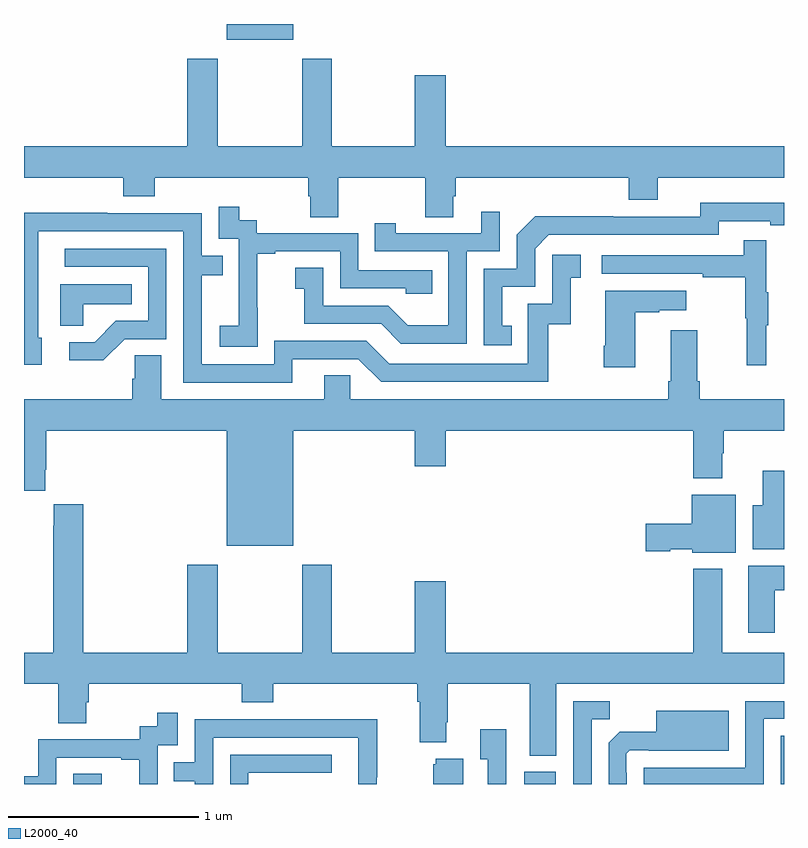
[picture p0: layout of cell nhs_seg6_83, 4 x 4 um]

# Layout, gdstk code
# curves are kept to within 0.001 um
import gdstk
lib = gdstk.Library(unit=1e-6, precision=1e-09)
def R(c, l, rs):  # rectangles x0, y0, x1, y1
    for r in rs: c.add(gdstk.rectangle(r[:2], r[2:], *l))
def P(c, l, *ps):  # polygons
    for p in ps: c.add(gdstk.Polygon(p, *l))
L2000_40 = (2000, 40)

nhs_seg6_83 = lib.new_cell('nhs_seg6_83')
R(nhs_seg6_83, L2000_40, [(115.26,921.5,115.408,921.553), (117.632,921.5,117.799,921.565), (118.983,921.5,119,921.755), (116.066,925.418,116.416,925.5)])
P(nhs_seg6_83, L2000_40, [(116.655,924.692),(117.112,924.692),(117.112,924.484),(117.259,924.484),(117.259,924.594),(117.272,924.594),(117.272,924.692),(118.184,924.692),(118.184,924.575),(118.336,924.575),(118.336,924.692),(119,924.692),(119,924.856),(117.22,924.856),(117.22,925.231),(117.056,925.231),(117.056,924.856),(116.619,924.856),(116.619,925.318),(116.464,925.318),(116.464,924.856),(116.019,924.856),(116.019,925.318),(115.859,925.318),(115.859,924.856),(115,924.856),(115,924.692),(115.523,924.692),(115.523,924.593),(115.688,924.593),(115.688,924.692),(116.495,924.692),(116.495,924.594),(116.507,924.594),(116.507,924.484),(116.655,924.484)],
  [(117.566,923.913),(117.517,923.913),(117.517,924.117),(117.69,924.117),(117.69,924.318),(117.762,924.39),(118.656,924.39),(118.656,924.462),(118.928,924.462),(118.928,924.442),(119,924.442),(119,924.558),(118.56,924.559),(118.56,924.486),(118.1,924.486),(118.1,924.488),(117.692,924.488),(117.594,924.39),(117.594,924.213),(117.42,924.213),(117.42,923.808),(117.566,923.808)],
  [(116.229,924.007),(116.228,924.007),(116.228,924.291),(116.323,924.291),(116.323,924.303),(116.664,924.303),(116.664,924.108),(117.009,924.108),(117.009,924.081),(117.149,924.081),(117.149,924.204),(116.76,924.204),(116.76,924.399),(116.226,924.399),(116.226,924.468),(116.134,924.468),(116.134,924.538),(116.025,924.538),(116.025,924.369),(116.13,924.369),(116.13,924.14),(116.129,924.14),(116.129,923.911),(116.031,923.911),(116.031,923.801),(116.229,923.801)],
  [(117.33,924.303),(117.504,924.303),(117.504,924.511),(117.407,924.511),(117.407,924.399),(116.956,924.399),(116.956,924.451),(116.845,924.451),(116.845,924.303),(117.234,924.303),(117.234,923.914),(117.02,923.914),(116.916,924.018),(116.574,924.018),(116.574,924.217),(116.427,924.217),(116.427,924.107),(116.476,924.107),(116.476,923.922),(116.879,923.922),(116.984,923.817),(117.33,923.817)],
  [(116.413,923.736),(116.76,923.736),(116.88,923.616),(117.76,923.616),(117.76,923.919),(117.878,923.919),(117.878,924.165),(117.931,924.165),(117.931,924.286),(117.78,924.286),(117.78,924.027),(117.651,924.027),(117.651,923.712),(116.922,923.712),(116.802,923.832),(116.316,923.832),(116.316,923.709),(115.935,923.709),(115.935,924.178),(116.045,924.178),(116.045,924.279),(115.935,924.279),(115.935,924.504),(115.439,924.504),(115.439,924.506),(115,924.506),(115,923.706),(115.093,923.706),(115.093,923.85),(115.074,923.85),(115.074,924.408),(115.839,924.408),(115.839,923.613),(116.413,923.613)],
  [(118.907,923.915),(118.918,923.915),(118.918,924.089),(118.907,924.089),(118.907,924.361),(118.789,924.361),(118.789,924.282),(118.041,924.282),(118.041,924.186),(118.573,924.186),(118.573,924.166),(118.797,924.166),(118.797,923.952),(118.804,923.952),(118.804,923.703),(118.907,923.703)],
  [(115.53,923.841),(115.749,923.841),(115.749,924.318),(115.215,924.318),(115.215,924.222),(115.653,924.222),(115.653,923.937),(115.484,923.937),(115.373,923.826),(115.239,923.826),(115.239,923.729),(115.417,923.729)],
  [(115.311,924.026),(115.568,924.026),(115.568,924.13),(115.19,924.13),(115.19,923.911),(115.311,923.911)],
  [(118.216,923.983),(118.343,923.983),(118.343,923.993),(118.486,923.993),(118.486,924.097),(118.058,924.097),(118.058,923.806),(118.051,923.806),(118.051,923.694),(118.216,923.694)],
  [(116.416,923.36),(117.056,923.36),(117.056,923.172),(117.22,923.172),(117.22,923.36),(118.523,923.36),(118.523,923.108),(118.675,923.108),(118.675,923.24),(118.683,923.24),(118.683,923.36),(119,923.36),(119,923.524),(118.556,923.524),(118.556,923.62),(118.543,923.62),(118.543,923.887),(118.403,923.887),(118.403,923.62),(118.391,923.62),(118.391,923.524),(116.718,923.524),(116.718,923.651),(116.579,923.651),(116.579,923.524),(115.723,923.524),(115.723,923.756),(115.584,923.756),(115.584,923.633),(115.571,923.633),(115.571,923.524),(115,923.524),(115,923.043),(115.111,923.043),(115.111,923.155),(115.118,923.155),(115.118,923.36),(116.066,923.36),(116.066,922.754),(116.416,922.754)],
  [(119,923.149),(118.889,923.149),(118.889,922.966),(118.835,922.966),(118.835,922.736),(119,922.736)],
  [(118.747,923.023),(118.514,923.023),(118.514,922.871),(118.272,922.871),(118.272,922.724),(118.401,922.724),(118.401,922.736),(118.518,922.736),(118.518,922.718),(118.747,922.718)],
  [(117.802,922.028),(119,922.028),(119,922.192),(118.675,922.192),(118.675,922.633),(118.523,922.633),(118.523,922.192),(117.22,922.192),(117.22,922.567),(117.056,922.567),(117.056,922.192),(116.619,922.192),(116.619,922.654),(116.464,922.654),(116.464,922.192),(116.019,922.192),(116.019,922.654),(115.859,922.654),(115.859,922.192),(115.313,922.192),(115.313,922.972),(115.157,922.972),(115.157,922.859),(115.153,922.859),(115.153,922.192),(115,922.192),(115,922.028),(115.18,922.028),(115.18,921.82),(115.327,921.82),(115.327,921.93),(115.34,921.93),(115.34,922.028),(116.147,922.028),(116.147,921.929),(116.312,921.929),(116.312,922.028),(117.071,922.028),(117.071,921.932),(117.083,921.932),(117.083,921.719),(117.223,921.719),(117.223,921.826),(117.231,921.826),(117.231,922.028),(117.662,922.028),(117.662,921.65),(117.802,921.65)],
  [(118.951,922.52),(119,922.52),(119,922.648),(118.811,922.648),(118.811,922.296),(118.951,922.296)],
  [(118.893,921.843),(119,921.843),(119,921.936),(118.797,921.936),(118.797,921.585),(118.263,921.585),(118.263,921.5),(118.893,921.5)],
  [(117.987,921.841),(118.083,921.841),(118.083,921.936),(117.891,921.936),(117.891,921.5),(117.987,921.5)],
  [(118.173,921.56),(118.17,921.56),(118.17,921.66),(118.188,921.678),(118.288,921.678),(118.288,921.674),(118.708,921.674),(118.708,921.886),(118.328,921.886),(118.328,921.775),(118.136,921.775),(118.077,921.716),(118.077,921.5),(118.173,921.5)],
  [(115.17,921.639),(115.511,921.639),(115.511,921.627),(115.607,921.627),(115.607,921.5),(115.704,921.5),(115.704,921.705),(115.809,921.705),(115.809,921.874),(115.701,921.874),(115.701,921.804),(115.608,921.804),(115.608,921.735),(115.074,921.735),(115.074,921.54),(115,921.54),(115,921.5),(115.17,921.5)],
  [(115.995,921.744),(116.76,921.744),(116.76,921.5),(116.856,921.5),(116.856,921.535),(116.859,921.535),(116.859,921.842),(116.395,921.842),(116.395,921.84),(115.899,921.84),(115.899,921.615),(115.789,921.615),(115.789,921.514),(115.899,921.514),(115.899,921.5),(115.995,921.5)],
  [(117.537,921.787),(117.401,921.787),(117.401,921.631),(117.441,921.631),(117.441,921.5),(117.537,921.5)],
  [(116.181,921.558),(116.62,921.558),(116.62,921.654),(116.085,921.654),(116.085,921.5),(116.181,921.5)],
  [(117.313,921.634),(117.167,921.634),(117.167,921.603),(117.155,921.603),(117.155,921.5),(117.313,921.5)])

lib.write_gds('nhs_seg6_83.gds')
